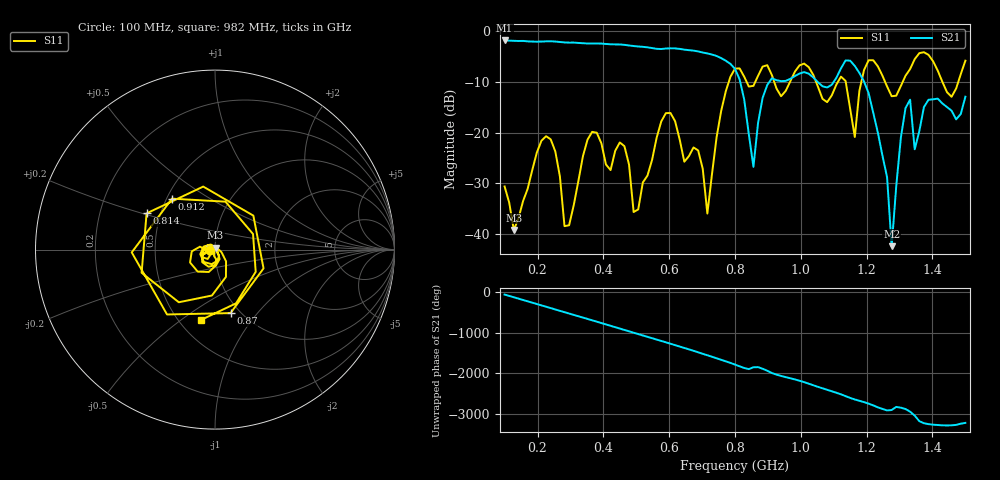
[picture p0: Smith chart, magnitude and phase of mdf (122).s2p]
! NanoVNA-App
! Date: 2025-09-26 09:40:41
! Start: 100MHz Stop: 1,5GHz Points: 101
! S-Parameter data: F S11 S21 S12 S22
# Hz S RI R 50
!  Frequency  S11_Real  S11_Imag  S21_Real  S21_Imag  S12_Real  S12_Imag  S22_Real  S22_Imag
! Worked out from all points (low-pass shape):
!   101 points, 100 MHz to 1.5 GHz, reference 50 ohm
!   highest |S21| = -1.79 dB at 100 MHz (marker M1); lowest = -42.4 dB at 1.276 GHz (marker M2)
!   |S21| within 3 dB of the highest: start of sweep to 740.8 MHz
!   lowest |S11| = -39.2 dB at 128 MHz (marker M3), VSWR 1.02, Z = 50.3 + j1.07 ohm
!   |S11| at or under -10 dB: start of sweep to 780.9 MHz; 1.046 GHz to 1.112 GHz (66 MHz wide, 6.11 % of centre); 1.256 GHz to 1.309 GHz (53.08 MHz wide, 4.14 % of centre) (the widest 3 of 7)
!   S12 and S22 are empty: the file has one direction only
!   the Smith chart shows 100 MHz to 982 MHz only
!   S11 on the Smith chart (normalised r, x): 100 MHz: 0.94, -0.01; 814 MHz: 0.42, +0.21; 870 MHz: 0.90, -0.74; 912 MHz: 0.53, +0.35; 982 MHz: 0.64, -0.59
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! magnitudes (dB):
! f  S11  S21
! 100 MHz  -30.6  -1.8
! 128 MHz  -39.2  -1.9
! 212 MHz  -21.6  -2.0
! 282 MHz  -38.5  -2.2
! 338 MHz  -24.6  -2.3
! 464 MHz  -22.7  -2.7
! 492 MHz  -35.7  -2.9
! 576 MHz  -17.8  -3.5
! 688 MHz  -23.5  -4.0
! 716 MHz  -36.0  -4.4
! 800 MHz  -7.4  -7.4
! 814 MHz  -7.3  -9.5
! 856 MHz  -10.7  -26.7
! 870 MHz  -8.8  -18.1
! 912 MHz  -8.6  -9.3
! 982 MHz  -7.9  -8.8
! 1.038 GHz  -8.6  -9.1
! 1.164 GHz  -20.8  -6.8
! 1.192 GHz  -7.6  -9.9
! 1.276 GHz  -12.8  -42.4
! 1.318 GHz  -8.8  -15.2
! 1.5 GHz  -5.8  -12.9
